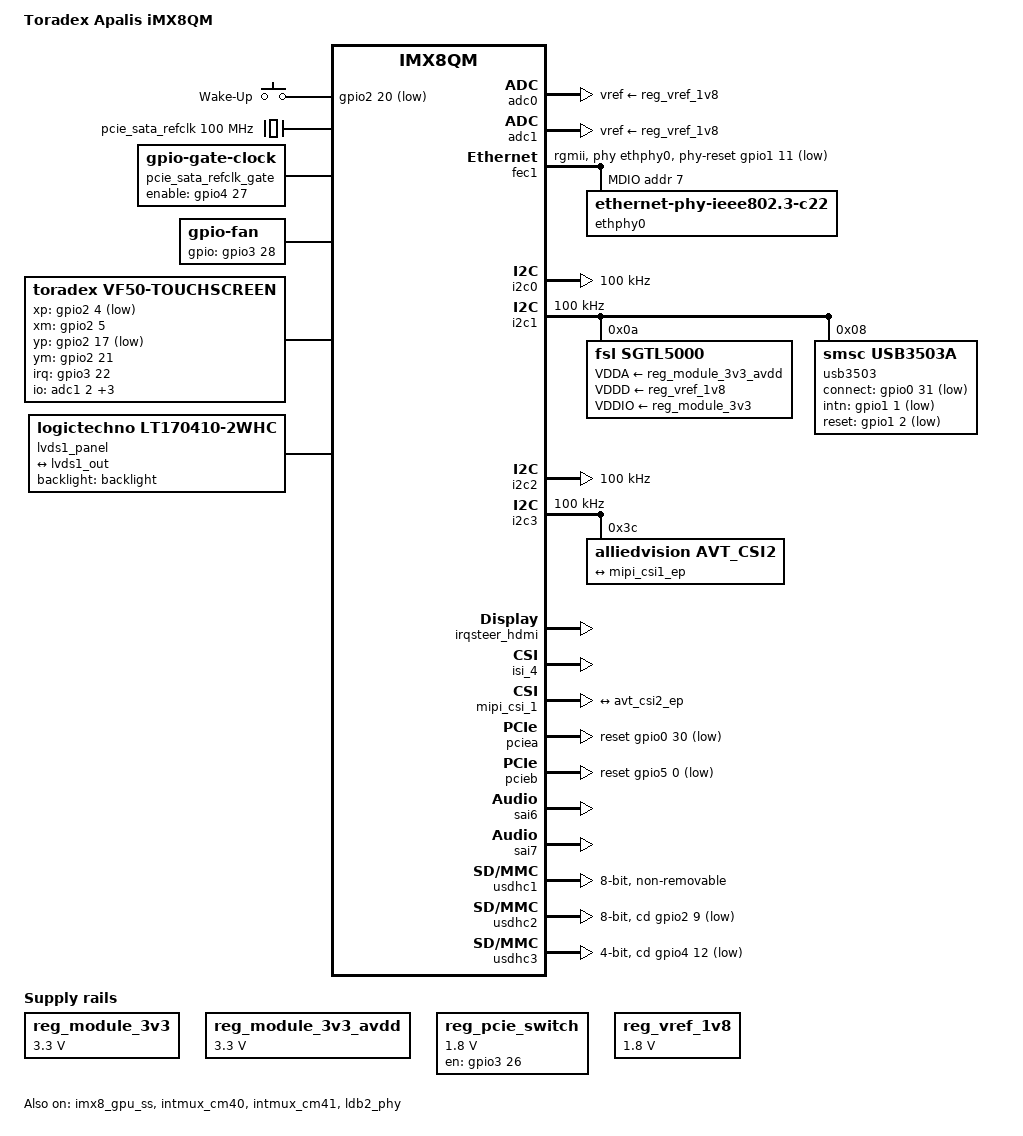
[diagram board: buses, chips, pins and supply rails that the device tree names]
// SPDX-License-Identifier: GPL-2.0+ OR X11
/*
 * Copyright 2017-2019 Toradex
 */

#include <dt-bindings/pwm/pwm.h>
#include "fsl-imx8qm.dtsi"

/ {
	model = "Toradex Apalis iMX8QM";
	compatible = "toradex,apalis-imx8qm", "fsl,imx8qm";

	chosen {
		stdout-path = &lpuart1;
	};

	/* Apalis BKL1 */
	backlight: backlight {
		compatible = "pwm-backlight";
		pinctrl-names = "default";
		pinctrl-0 = <&pinctrl_gpio_bkl_on>;
		enable-gpios = <&gpio1 4 GPIO_ACTIVE_HIGH>; /* Apalis BKL1_ON */
		pwms = <&lvds1_pwm 0 5000000 0>;
		status = "disabled";
	};

	/* Apalis WAKE1_MICO */
	gpio-keys {
		compatible = "gpio-keys";
		pinctrl-names = "default";
		pinctrl-0 = <&pinctrl_gpio_keys>;

		wakeup {
			label = "Wake-Up";
			gpios = <&gpio2 20 GPIO_ACTIVE_LOW>;
			linux,code = <KEY_WAKEUP>;
			debounce-interval = <10>;
			gpio-key,wakeup;
		};
	};

	pcie_sata_refclk: clock-generator {
		compatible = "fixed-clock";
		#clock-cells = <0>;
		clock-frequency = <100000000>;
	};

	pcie_sata_refclk_gate: ref-clock {
		compatible = "gpio-gate-clock";
		pinctrl-names = "default";
		pinctrl-0 = <&pinctrl_pcie_sata_refclk>;
		#clock-cells = <0>;
		clocks = <&pcie_sata_refclk>;
		enable-gpios = <&gpio4 27 GPIO_ACTIVE_HIGH>;
	};

	reg_module_3v3: regulator-module-3v3 {
		compatible = "regulator-fixed";
		regulator-name = "+V3.3";
		regulator-min-microvolt = <3300000>;
		regulator-max-microvolt = <3300000>;
	};

	reg_module_3v3_avdd: regulator-module-3v3-avdd {
		compatible = "regulator-fixed";
		regulator-name = "+V3.3_AUDIO";
		regulator-min-microvolt = <3300000>;
		regulator-max-microvolt = <3300000>;
	};

	reg_pcie_switch: regulator-pcie-switch {
		compatible = "regulator-fixed";
		pinctrl-names = "default";
		pinctrl-0 = <&pinctrl_gpio7>;
		enable-active-high;
		gpio = <&gpio3 26 GPIO_ACTIVE_HIGH>;
		regulator-name = "pcie_switch";
		regulator-min-microvolt = <1800000>;
		regulator-max-microvolt = <1800000>;
		startup-delay-us = <100000>;
	};

	reg_vref_1v8: regulator-vref-1v8 {
		compatible = "regulator-fixed";
		regulator-name = "+V1.8";
		regulator-min-microvolt = <1800000>;
		regulator-max-microvolt = <1800000>;
	};

	gpio-fan {
		compatible = "gpio-fan";
		pinctrl-names = "default";
		pinctrl-0 = <&pinctrl_gpio8>;
		gpios = <&gpio3 28 GPIO_ACTIVE_HIGH>;
		gpio-fan,speed-map = <	 0 0
				      3000 1>;
	};

	sound {
		compatible = "simple-audio-card";
		simple-audio-card,bitclock-master = <&dailink_master>;
		simple-audio-card,format = "i2s";
		simple-audio-card,frame-master = <&dailink_master>;
		/* simple-audio-card,mclk-fs = <1>; */
		simple-audio-card,name = "apalis-imx8qm-sgtl5000";

		simple-audio-card,cpu {
			sound-dai = <&sai1>;
		};

		dailink_master: simple-audio-card,codec {
			clocks = <&clk IMX8QM_AUD_MCLKOUT0>;
			sound-dai = <&sgtl5000>;
		};
	};

	sound-hdmi-tx {
		compatible = "fsl,imx-audio-cdnhdmi";
		audio-cpu = <&sai_hdmi_tx>;
		constraint-rate = <48000>;
		hdmi-out;
		model = "imx-audio-hdmi-tx";
		protocol = <1>;
	};

	sound-amix-sai {
		compatible = "fsl,imx-audio-amix";
		amix-controller = <&amix>;
		dais = <&sai6>, <&sai7>;
		model = "amix-audio-sai";
		status = "okay";
	};

	sound-hdmi-arc {
		compatible = "fsl,imx-audio-spdif";
		model = "imx-hdmi-arc";
		spdif-controller = <&spdif1>;
		spdif-in;
		spdif-out;
	};

	sound-spdif {
		compatible = "fsl,imx-audio-spdif";
		model = "imx-spdif";
		spdif-controller = <&spdif0>;
		spdif-in;
		spdif-out;
	};

	touchscreen: vf50-touchscreen {
		compatible = "toradex,vf50-touchscreen";
		io-channels = <&adc1 2>,<&adc1 1>,
			      <&adc1 0>,<&adc1 3>;
		xp-gpios = <&gpio2 4 GPIO_ACTIVE_LOW>;
		xm-gpios = <&gpio2 5 GPIO_ACTIVE_HIGH>;
		yp-gpios = <&gpio2 17 GPIO_ACTIVE_LOW>;
		ym-gpios = <&gpio2 21 GPIO_ACTIVE_HIGH>;
		interrupt-parent = <&gpio3>;
		interrupts = <22 IRQ_TYPE_LEVEL_LOW>;
		pinctrl-names = "idle","default";
		pinctrl-0 = <&pinctrl_touchctrl_idle>, <&pinctrl_touchctrl_gpios>;
		pinctrl-1 = <&pinctrl_adc1>, <&pinctrl_touchctrl_gpios>;
		vf50-ts-min-pressure = <200>;
		status = "okay";
	};

	lvds1_panel {
		compatible = "logictechno,lt170410-2whc";
		backlight = <&backlight>;

		port {
			panel_lvds1_in: endpoint {
				remote-endpoint = <&lvds1_out>;
			};
		};
	};
};

&adc0 {
	pinctrl-names = "default";
	pinctrl-0 = <&pinctrl_adc0>;
	vref-supply = <&reg_vref_1v8>;
};

&adc1 {
	/* pinctrl handled by touchscreen above */
	vref-supply = <&reg_vref_1v8>;
};

&asrc0 {
	fsl,asrc-rate = <48000>;
};

&dsp {
	status = "disabled";
};

/* Apalis GLAN */
&fec1 {
	pinctrl-names = "default";
	pinctrl-0 = <&pinctrl_fec1>;
	fsl,magic-packet;
	fsl,rgmii_rxc_dly;
	fsl,rgmii_txc_dly;
	phy-handle = <&ethphy0>;
	phy-mode = "rgmii";
	phy-reset-duration = <10>;
	phy-reset-gpios = <&gpio1 11 1>;

	mdio {
		#address-cells = <1>;
		#size-cells = <0>;

		ethphy0: ethernet-phy@7 {
			compatible = "ethernet-phy-ieee802.3-c22";
			reg = <7>;
		};
	};
};

/* Apalis CAN1 */
&flexcan1 {
	/* define the following property to disable CAN-FD mode */
	/* disable-fd-mode; */
	pinctrl-names = "default";
	pinctrl-0 = <&pinctrl_flexcan1>;
	/* xceiver-supply = <&reg_can_stby>; */
};

/* Apalis CAN2 */
&flexcan2 {
	/* define the following property to disable CAN-FD mode */
	/* disable-fd-mode; */
	pinctrl-names = "default";
	pinctrl-0 = <&pinctrl_flexcan2>;
	/* xceiver-supply = <&reg_can_stby>; */
};

/* Apalis HDMI1 */
&hdmi {
	compatible = "fsl,imx8qm-hdmi";
	pinctrl-names = "default";
	pinctrl-0 = <&pinctrl_hdmi_ctrl>;
	assigned-clocks = <&clk IMX8QM_HDMI_PXL_SEL>,
			  <&clk IMX8QM_HDMI_PXL_LINK_SEL>,
			  <&clk IMX8QM_HDMI_PXL_MUX_SEL>;
	assigned-clock-parents = <&clk IMX8QM_HDMI_AV_PLL_CLK>,
				 <&clk IMX8QM_HDMI_AV_PLL_CLK>,
				 <&clk IMX8QM_HDMI_AV_PLL_CLK>;
	ddc-i2c-bus = <&i2c0>;
	fsl,cec;
	hdmi-ctrl-gpios = <&gpio1 30 GPIO_ACTIVE_HIGH>;
};

/* Apalis I2C2 (DDC) */
&i2c0 {
	pinctrl-names = "default";
	pinctrl-0 = <&pinctrl_lpi2c0>;
	#address-cells = <1>;
	#size-cells = <0>;
	clock-frequency = <100000>;
};

/* On-module I2C */
&i2c1 {
	pinctrl-names = "default";
	pinctrl-0 = <&pinctrl_lpi2c1>;
	#address-cells = <1>;
	#size-cells = <0>;
	clock-frequency = <100000>;
	status = "okay";

	/* SGTL5000 */
	sgtl5000: codec@a {
		compatible = "fsl,sgtl5000";
		pinctrl-names = "default";
		pinctrl-0 = <&pinctrl_sgtl5000>;
		#sound-dai-cells = <0>;
		assigned-clocks = <&clk IMX8QM_AUD_PLL0_DIV>,
				  <&clk IMX8QM_AUD_ACM_AUD_PLL_CLK0_DIV>,
				  <&clk IMX8QM_AUD_ACM_AUD_REC_CLK0_DIV>,
				  <&clk IMX8QM_AUD_MCLKOUT0>;
		assigned-clock-rates = <786432000>, <49152000>, <12288000>, <12288000>;
		clocks = <&clk IMX8QM_AUD_MCLKOUT0>;
		power-domains = <&pd_mclk_out0>;
		reg = <0x0a>;
		VDDA-supply = <&reg_module_3v3_avdd>;
		VDDD-supply = <&reg_vref_1v8>;
		VDDIO-supply = <&reg_module_3v3>;
	};

	/* USB3503A */
	usb3503@08 {
		compatible = "smsc,usb3503a";
		pinctrl-names = "default";
		pinctrl-0 = <&pinctrl_usb3503a>;
		connect-gpios = <&gpio0 31 GPIO_ACTIVE_LOW>;
		initial-mode = <1>;
		intn-gpios = <&gpio1 1 GPIO_ACTIVE_LOW>;
		refclk-frequency = <25000000>;
		reg = <0x08>;
		reset-gpios = <&gpio1 2 GPIO_ACTIVE_LOW>;
	};
};

/* Apalis I2C1 */
&i2c2 {
	pinctrl-names = "default";
	pinctrl-0 = <&pinctrl_lpi2c2>;
	#address-cells = <1>;
	#size-cells = <0>;
	clock-frequency = <100000>;
};

/* Apalis I2C3 (CAM) */
&i2c3 {
	pinctrl-names = "default";
	pinctrl-0 = <&pinctrl_lpi2c3>;
	#address-cells = <1>;
	#size-cells = <0>;
	clock-frequency = <100000>;
	status = "okay";

	avt_csi2@3c {
		compatible = "alliedvision,avt_csi2";
		reg = <0x3c>;
		pinctrl-names = "default";
		pinctrl-0 = <&pinctrl_gpio12>;
		status = "okay";

		virtual-channel;

		port {
			avt_csi2_ep: endpoint {
				data-lanes = <1 2 3 4>;
				remote-endpoint = <&mipi_csi1_ep>;
			};
		};
	};
};

&imx8_gpu_ss {
	status = "okay";
};

&intmux_cm40 {
	status = "okay";
};

&intmux_cm41 {
	status = "okay";
};

&iomuxc {
	pinctrl-names = "default";
	pinctrl-0 = <&pinctrl_cam1_gpios>, <&pinctrl_dap1_gpios>,
		    <&pinctrl_esai0_gpios>, <&pinctrl_fec2_gpios>,
		    <&pinctrl_gpio34>, <&pinctrl_gpio_usbh_oc_n>,
		    <&pinctrl_lpuart1ctrl>, <&pinctrl_lvds0_i2c0_gpio>,
		    <&pinctrl_lvds1_i2c0_gpios>, <&pinctrl_mipi_dsi_0_1_en>,
		    <&pinctrl_mipi_dsi1_gpios>, <&pinctrl_mlb_gpios>,
		    <&pinctrl_qspi1a_gpios>, <&pinctrl_sata1_act>,
		    <&pinctrl_sim0_gpios>, <&pinctrl_usdhc1_gpios>;

	apalis-imx8qm {
		/* Apalis AN1_ADC */
		pinctrl_adc0: adc0grp {
			fsl,pins = <
				/* Apalis AN1_ADC0 */
				SC_P_ADC_IN0_DMA_ADC0_IN0		0xc0000060
				/* Apalis AN1_ADC1 */
				SC_P_ADC_IN1_DMA_ADC0_IN1		0xc0000060
				/* Apalis AN1_ADC2 */
				SC_P_ADC_IN2_DMA_ADC0_IN2		0xc0000060
				/* Apalis AN1_TSWIP_ADC3 */
				SC_P_ADC_IN3_DMA_ADC0_IN3		0xc0000060
			>;
		};

		/* Apalis AN1_TS */
		pinctrl_adc1: adc1grp {
			fsl,pins = <
				/* Apalis AN1_TSPX */
				SC_P_ADC_IN4_DMA_ADC1_IN0		0xc0000060
				/* Apalis AN1_TSMX */
				SC_P_ADC_IN5_DMA_ADC1_IN1		0xc0000060
				/* Apalis AN1_TSPY */
				SC_P_ADC_IN6_DMA_ADC1_IN2		0xc0000060
				/* Apalis AN1_TSMY */
				SC_P_ADC_IN7_DMA_ADC1_IN3		0xc0000060
			>;
		};

		/* Apalis BKL_ON */
		pinctrl_gpio_bkl_on: gpio-bkl-on {
			fsl,pins = <
				SC_P_LVDS0_GPIO00_LSIO_GPIO1_IO04	0x00000021
			>;
		};

		/* Apalis BKL1_PWM */
		pinctrl_pwm_bkl: pwmbklgrp {
			fsl,pins = <
				SC_P_LVDS1_GPIO00_LVDS1_PWM0_OUT	0x00000020
			>;
		};

		/* Apalis CAM1 */
		pinctrl_cam1_gpios: cam1gpiosgrp {
			fsl,pins = <
				/* Apalis CAM1_D7 */
				SC_P_MIPI_DSI1_I2C0_SCL_LSIO_GPIO1_IO20	0x00000021
				/* Apalis CAM1_D6 */
				SC_P_MIPI_DSI1_I2C0_SDA_LSIO_GPIO1_IO21	0x00000021
				/* Apalis CAM1_D5 */
				SC_P_ESAI0_TX0_LSIO_GPIO2_IO26		0x00000021
				/* Apalis CAM1_D4 */
				SC_P_ESAI0_TX1_LSIO_GPIO2_IO27		0x00000021
				/* Apalis CAM1_D3 */
				SC_P_ESAI0_TX2_RX3_LSIO_GPIO2_IO28	0x00000021
				/* Apalis CAM1_D2 */
				SC_P_ESAI0_TX3_RX2_LSIO_GPIO2_IO29	0x00000021
				/* Apalis CAM1_D1 */
				SC_P_ESAI0_TX4_RX1_LSIO_GPIO2_IO30	0x00000021
				/* Apalis CAM1_D0 */
				SC_P_ESAI0_TX5_RX0_LSIO_GPIO2_IO31	0x00000021
				/* Apalis CAM1_PCLK */
				SC_P_MCLK_IN0_LSIO_GPIO3_IO00		0x00000021
				/* Apalis CAM1_MCLK */
				SC_P_SPI3_SDO_LSIO_GPIO2_IO18		0x00000021
				/* Apalis CAM1_VSYNC */
				SC_P_ESAI0_SCKR_LSIO_GPIO2_IO24		0x00000021
				/* Apalis CAM1_HSYNC */
				SC_P_ESAI0_SCKT_LSIO_GPIO2_IO25		0x00000021
			>;
		};

		/* Apalis CAN1 */
		pinctrl_flexcan1: flexcan0grp {
			fsl,pins = <
				SC_P_FLEXCAN0_TX_DMA_FLEXCAN0_TX	0x21
				SC_P_FLEXCAN0_RX_DMA_FLEXCAN0_RX	0x21
			>;
		};

		/* Apalis CAN2 */
		pinctrl_flexcan2: flexcan1grp {
			fsl,pins = <
				SC_P_FLEXCAN1_TX_DMA_FLEXCAN1_TX	0x21
				SC_P_FLEXCAN1_RX_DMA_FLEXCAN1_RX	0x21
			>;
		};

		/* Apalis DAP1 */
		pinctrl_dap1_gpios: dap1gpiosgrp {
			fsl,pins = <
				/* Apalis DAP1_MCLK */
				SC_P_SPI3_SDI_LSIO_GPIO2_IO19			0x00000021
				/* Apalis DAP1_D_OUT */
				SC_P_SAI1_RXC_LSIO_GPIO3_IO12			0x00000021
				/* Apalis DAP1_RESET */
				SC_P_ESAI1_SCKT_LSIO_GPIO2_IO07			0x00000021
				/* Apalis DAP1_BIT_CLK */
				SC_P_SPI0_CS1_LSIO_GPIO3_IO06			0x00000021
				/* Apalis DAP1_D_IN */
				SC_P_SAI1_RXFS_LSIO_GPIO3_IO14			0x00000021
				/* Apalis DAP1_SYNC */
				SC_P_SPI2_CS1_LSIO_GPIO3_IO11			0x00000021
				/* On-module Wi-Fi_I2S_EN# */
				SC_P_ESAI1_TX5_RX0_LSIO_GPIO2_IO13		0x00000021
			>;
		};

		/* Apalis GPIO1+2 */
		pinctrl_gpio12: gpio12grp {
			fsl,pins = <
				/* Apalis GPIO1 */
				SC_P_M40_GPIO0_00_LSIO_GPIO0_IO08		0x06000021
				/* Apalis GPIO2 */
				SC_P_M40_GPIO0_01_LSIO_GPIO0_IO09		0x06000021
			>;
		};

		/* Apalis GPIO3+4 */
		pinctrl_gpio34: gpio34grp {
			fsl,pins = <
				/* Apalis GPIO3 */
				SC_P_M41_GPIO0_00_LSIO_GPIO0_IO12		0x06000021
				/* Apalis GPIO4 */
				SC_P_M41_GPIO0_01_LSIO_GPIO0_IO13		0x06000021
			>;
		};

		/* Apalis GPIO5+6 */
		pinctrl_touch: touchgrp {
			fsl,pins = <
				SC_P_FLEXCAN2_RX_LSIO_GPIO4_IO01		0x06000021
				SC_P_FLEXCAN2_TX_LSIO_GPIO4_IO02		0x06000021
			>;
		};

		/* Apalis GPIO7 */
		pinctrl_gpio7: gpio7 {
			fsl,pins = <
				SC_P_MLB_SIG_LSIO_GPIO3_IO26			0x00000021
			>;
		};

		/* Apalis GPIO8 */
		pinctrl_gpio8: gpio8 {
			fsl,pins = <
				SC_P_MLB_DATA_LSIO_GPIO3_IO28			0x00000021
			>;
		};

		/* Apalis I2C1 */
		pinctrl_lpi2c2: lpi2c2grp {
			fsl,pins = <
				SC_P_GPT1_CLK_DMA_I2C2_SCL		0x04000020
				SC_P_GPT1_CAPTURE_DMA_I2C2_SDA		0x04000020
			>;
		};

		/* Apalis I2C2 (DDC) */
		pinctrl_lpi2c0: lpi2c0grp {
			fsl,pins = <
				SC_P_HDMI_TX0_TS_SCL_DMA_I2C0_SCL	0x04000022
				SC_P_HDMI_TX0_TS_SDA_DMA_I2C0_SDA	0x04000022
			>;
		};

		/* Apalis I2C3 (CAM) */
		pinctrl_lpi2c3: lpi2c3grp {
			fsl,pins = <
				SC_P_SIM0_PD_DMA_I2C3_SCL		0x04000020
				SC_P_SIM0_POWER_EN_DMA_I2C3_SDA		0x04000020
			>;
		};

		/* Apalis LCD1_G1+2 */
		pinctrl_esai0_gpios: esai0gpiosgrp {
			fsl,pins = <
				/* Apalis LCD1_G1 */
				SC_P_ESAI0_FSR_LSIO_GPIO2_IO22			0x00000021
				/* Apalis LCD1_G2 */
				SC_P_ESAI0_FST_LSIO_GPIO2_IO23			0x00000021
			>;
		};

		/* Apalis LCD1_G6+7 */
		pinctrl_lvds1_i2c0_gpios: lvds1i2c0gpiosgrp {
			fsl,pins = <
				/* Apalis LCD1_G6 */
				SC_P_LVDS1_I2C0_SCL_LSIO_GPIO1_IO12		0x00000021
				/* Apalis LCD1_G7 */
				SC_P_LVDS1_I2C0_SDA_LSIO_GPIO1_IO13		0x00000021
			>;
		};

		/* Apalis LCD1_ */
		pinctrl_fec2_gpios: fec2gpiosgrp {
			fsl,pins = <
				SC_P_COMP_CTL_GPIO_1V8_3V3_ENET_ENETA_PAD	0x000014a0
				/* Apalis LCD1_R1 */
				SC_P_ENET1_MDC_LSIO_GPIO4_IO18			0x00000021
				/* Apalis LCD1_R0 */
				SC_P_ENET1_MDIO_LSIO_GPIO4_IO17			0x00000021
				/* Apalis LCD1_G0 */
				SC_P_ENET1_REFCLK_125M_25M_LSIO_GPIO4_IO16	0x00000021
				/* Apalis LCD1_R7 */
				SC_P_ENET1_RGMII_RX_CTL_LSIO_GPIO6_IO17		0x00000021
				/* Apalis LCD1_DE */
				SC_P_ENET1_RGMII_RXD0_LSIO_GPIO6_IO18		0x00000021
				/* Apalis LCD1_HSYNC */
				SC_P_ENET1_RGMII_RXD1_LSIO_GPIO6_IO19		0x00000021
				/* Apalis LCD1_VSYNC */
				SC_P_ENET1_RGMII_RXD2_LSIO_GPIO6_IO20		0x00000021
				/* Apalis LCD1_PCLK */
				SC_P_ENET1_RGMII_RXD3_LSIO_GPIO6_IO21		0x00000021
				/* Apalis LCD1_R6 */
				SC_P_ENET1_RGMII_TX_CTL_LSIO_GPIO6_IO11		0x00000021
				/* Apalis LCD1_R5 */
				SC_P_ENET1_RGMII_TXC_LSIO_GPIO6_IO10		0x00000021
				/* Apalis LCD1_R4 */
				SC_P_ENET1_RGMII_TXD0_LSIO_GPIO6_IO12		0x00000021
				/* Apalis LCD1_R3 */
				SC_P_ENET1_RGMII_TXD1_LSIO_GPIO6_IO13		0x00000021
				/* Apalis LCD1_R2 */
				SC_P_ENET1_RGMII_TXD2_LSIO_GPIO6_IO14		0x00000021
			>;
		};

		/* Apalis LCD1_ */
		pinctrl_qspi1a_gpios: qspi1agpiosgrp {
			fsl,pins = <
				/* Apalis LCD1_B0 */
				SC_P_QSPI1A_DATA0_LSIO_GPIO4_IO26		0x00000021
				/* Apalis LCD1_B1 */
				SC_P_QSPI1A_DATA1_LSIO_GPIO4_IO25		0x00000021
				/* Apalis LCD1_B2 */
				SC_P_QSPI1A_DATA2_LSIO_GPIO4_IO24		0x00000021
				/* Apalis LCD1_B3 */
				SC_P_QSPI1A_DATA3_LSIO_GPIO4_IO23		0x00000021
				/* Apalis LCD1_B5 */
				SC_P_QSPI1A_DQS_LSIO_GPIO4_IO22			0x00000021
				/* Apalis LCD1_B7 */
				SC_P_QSPI1A_SCLK_LSIO_GPIO4_IO21		0x00000021
				/* Apalis LCD1_B4 */
				SC_P_QSPI1A_SS0_B_LSIO_GPIO4_IO19		0x00000021
				/* Apalis LCD1_B6 */
				SC_P_QSPI1A_SS1_B_LSIO_GPIO4_IO20		0x00000021
			>;
		};

		/* Apalis LCD1_ */
		pinctrl_sim0_gpios: sim0gpiosgrp {
			fsl,pins = <
				/* Apalis LCD1_G5 */
				SC_P_SIM0_CLK_LSIO_GPIO0_IO00			0x00000021
				/* Apalis LCD1_G3 */
				SC_P_SIM0_GPIO0_00_LSIO_GPIO0_IO05		0x00000021
				/* Apalis TS_5 */
				SC_P_SIM0_IO_LSIO_GPIO0_IO02			0x00000021
				/* Apalis LCD1_G4 */
				SC_P_SIM0_RST_LSIO_GPIO0_IO01			0x00000021
			>;
		};

		/* Apalis MMC1_CD# */
		pinctrl_mmc1_cd: mmc1cdgrp {
			fsl,pins = <
				SC_P_ESAI1_TX1_LSIO_GPIO2_IO09		0x00000021
			>;
		};

		/* Apalis MMC1 */
		pinctrl_usdhc2: usdhc2grp {
			fsl,pins = <
				SC_P_USDHC1_CLK_CONN_USDHC1_CLK		0x06000041
				SC_P_USDHC1_CMD_CONN_USDHC1_CMD		0x00000021
				SC_P_USDHC1_DATA0_CONN_USDHC1_DATA0	0x00000021
				SC_P_USDHC1_DATA1_CONN_USDHC1_DATA1	0x00000021
				SC_P_USDHC1_DATA2_CONN_USDHC1_DATA2	0x00000021
				SC_P_USDHC1_DATA3_CONN_USDHC1_DATA3	0x00000021
				SC_P_USDHC1_DATA4_CONN_USDHC1_DATA4	0x00000021
				SC_P_USDHC1_DATA5_CONN_USDHC1_DATA5	0x00000021
				SC_P_USDHC1_DATA6_CONN_USDHC1_DATA6	0x00000021
				SC_P_USDHC1_DATA7_CONN_USDHC1_DATA7	0x00000021
				/* On-module PMIC use */
				SC_P_USDHC1_VSELECT_CONN_USDHC1_VSELECT	0x00000021
			>;
		};

		pinctrl_usdhc2_100mhz: usdhc2grp100mhz {
			fsl,pins = <
				SC_P_USDHC1_CLK_CONN_USDHC1_CLK		0x06000040
				SC_P_USDHC1_CMD_CONN_USDHC1_CMD		0x00000020
				SC_P_USDHC1_DATA0_CONN_USDHC1_DATA0	0x00000020
				SC_P_USDHC1_DATA1_CONN_USDHC1_DATA1	0x00000020
				SC_P_USDHC1_DATA2_CONN_USDHC1_DATA2	0x00000020
				SC_P_USDHC1_DATA3_CONN_USDHC1_DATA3	0x00000020
				SC_P_USDHC1_DATA4_CONN_USDHC1_DATA4	0x00000020
				SC_P_USDHC1_DATA5_CONN_USDHC1_DATA5	0x00000020
				SC_P_USDHC1_DATA6_CONN_USDHC1_DATA6	0x00000020
				SC_P_USDHC1_DATA7_CONN_USDHC1_DATA7	0x00000020
				/* On-module PMIC use */
				SC_P_USDHC1_VSELECT_CONN_USDHC1_VSELECT	0x00000020
			>;
		};

		pinctrl_usdhc2_200mhz: usdhc2grp200mhz {
			fsl,pins = <
				SC_P_USDHC1_CLK_CONN_USDHC1_CLK		0x06000040
				SC_P_USDHC1_CMD_CONN_USDHC1_CMD		0x00000020
				SC_P_USDHC1_DATA0_CONN_USDHC1_DATA0	0x00000020
				SC_P_USDHC1_DATA1_CONN_USDHC1_DATA1	0x00000020
				SC_P_USDHC1_DATA2_CONN_USDHC1_DATA2	0x00000020
				SC_P_USDHC1_DATA3_CONN_USDHC1_DATA3	0x00000020
				SC_P_USDHC1_DATA4_CONN_USDHC1_DATA4	0x00000020
				SC_P_USDHC1_DATA5_CONN_USDHC1_DATA5	0x00000020
				SC_P_USDHC1_DATA6_CONN_USDHC1_DATA6	0x00000020
				SC_P_USDHC1_DATA7_CONN_USDHC1_DATA7	0x00000020
				/* On-module PMIC use */
				SC_P_USDHC1_VSELECT_CONN_USDHC1_VSELECT	0x00000020
			>;
		};

		/* Apalis PWM1 */
		pinctrl_pwm2: pwm2grp {
			fsl,pins = <
				SC_P_GPT1_COMPARE_LSIO_PWM2_OUT		0x00000020
			>;
		};

		/* Apalis PWM2 */
		pinctrl_pwm3: pwm3grp {
			fsl,pins = <
				SC_P_GPT0_COMPARE_LSIO_PWM3_OUT		0x00000020
			>;
		};

		/* Apalis PWM3 */
		pinctrl_pwm0: pwm0grp {
			fsl,pins = <
				SC_P_UART0_RTS_B_LSIO_PWM0_OUT		0x00000020
			>;
		};

		/* Apalis PWM4 */
		pinctrl_pwm1: pwm1grp {
			fsl,pins = <
				SC_P_UART0_CTS_B_LSIO_PWM1_OUT		0x00000020
			>;
		};

		/* Apalis SATA1_ACT# */
		pinctrl_sata1_act: sata1actgrp {
			fsl,pins = <
				SC_P_ESAI1_TX0_LSIO_GPIO2_IO08		0x00000021
			>;
		};

		/* Apalis SD1_CD# */
		pinctrl_sd1_cd: sd1cdgrp {
			fsl,pins = <
				SC_P_USDHC2_CD_B_LSIO_GPIO4_IO12	0x00000021
			>;
		};

		/* Apalis SD1 */
		pinctrl_usdhc3: usdhc3grp {
			fsl,pins = <
				SC_P_USDHC2_CLK_CONN_USDHC2_CLK		0x06000041
				SC_P_USDHC2_CMD_CONN_USDHC2_CMD		0x00000021
				SC_P_USDHC2_DATA0_CONN_USDHC2_DATA0	0x00000021
				SC_P_USDHC2_DATA1_CONN_USDHC2_DATA1	0x00000021
				SC_P_USDHC2_DATA2_CONN_USDHC2_DATA2	0x00000021
				SC_P_USDHC2_DATA3_CONN_USDHC2_DATA3	0x00000021
				/* On-module PMIC use */
				SC_P_USDHC2_VSELECT_CONN_USDHC2_VSELECT	0x00000021
			>;
		};

		pinctrl_touchctrl_idle: touchctrl_idle {
			fsl,pins = <
				SC_P_ADC_IN4_LSIO_GPIO3_IO22		0x00000021
				SC_P_ADC_IN5_LSIO_GPIO3_IO23		0x00000021
				>;
		};

		pinctrl_touchctrl_gpios: touchctrl_gpios {
			fsl,pins = <
				SC_P_ESAI1_FSR_LSIO_GPIO2_IO04		0x00000021
				SC_P_ESAI1_FST_LSIO_GPIO2_IO05		0x00000041
				SC_P_SPI3_SCK_LSIO_GPIO2_IO17		0x00000021
				SC_P_SPI3_CS1_LSIO_GPIO2_IO21		0x00000041
				>;
		};

		pinctrl_usdhc3_100mhz: usdhc3grp100mhz {
			fsl,pins = <
				SC_P_USDHC2_CLK_CONN_USDHC2_CLK		0x06000041
				SC_P_USDHC2_CMD_CONN_USDHC2_CMD		0x00000021
				SC_P_USDHC2_DATA0_CONN_USDHC2_DATA0	0x00000021
				SC_P_USDHC2_DATA1_CONN_USDHC2_DATA1	0x00000021
				SC_P_USDHC2_DATA2_CONN_USDHC2_DATA2	0x00000021
				SC_P_USDHC2_DATA3_CONN_USDHC2_DATA3	0x00000021
				/* On-module PMIC use */
				SC_P_USDHC2_VSELECT_CONN_USDHC2_VSELECT	0x00000021
			>;
		};

		pinctrl_usdhc3_200mhz: usdhc3grp200mhz {
			fsl,pins = <
				SC_P_USDHC2_CLK_CONN_USDHC2_CLK		0x06000041
				SC_P_USDHC2_CMD_CONN_USDHC2_CMD		0x00000021
				SC_P_USDHC2_DATA0_CONN_USDHC2_DATA0	0x00000021
				SC_P_USDHC2_DATA1_CONN_USDHC2_DATA1	0x00000021
				SC_P_USDHC2_DATA2_CONN_USDHC2_DATA2	0x00000021
				SC_P_USDHC2_DATA3_CONN_USDHC2_DATA3	0x00000021
				/* On-module PMIC use */
				SC_P_USDHC2_VSELECT_CONN_USDHC2_VSELECT	0x00000021
			>;
		};

		/* Apalis SPDIF */
		pinctrl_spdif0: spdif0grp {
			fsl,pins = <
				SC_P_SPDIF0_TX_AUD_SPDIF0_TX	0xc6000040
				SC_P_SPDIF0_RX_AUD_SPDIF0_RX	0xc6000040
			>;
		};

		/* Apalis TS_1 */
		pinctrl_mlb_gpios: mlbgpiosgrp {
			fsl,pins = <
				SC_P_MLB_CLK_LSIO_GPIO3_IO27			0x00000021
			>;
		};

		/* Apalis TS_2 */
		pinctrl_lvds0_i2c0_gpio: lvds0i2c0gpio {
			fsl,pins = <
				SC_P_LVDS0_I2C0_SCL_LSIO_GPIO1_IO06		0x00000021
			>;
		};

		/* Apalis TS_3 */
		pinctrl_mipi_dsi_0_1_en: mipi_dsi_0_1_en {
			fsl,pins = <
				SC_P_LVDS0_I2C0_SDA_LSIO_GPIO1_IO07		0x00000021
			>;
		};

		/* Apalis TS_4 */
		pinctrl_mipi_dsi1_gpios: mipidsi1gpiosgrp {
			fsl,pins = <
				SC_P_MIPI_DSI1_GPIO0_00_LSIO_GPIO1_IO22		0x00000021
			>;
		};

		/* Apalis TS_6 */
		pinctrl_usdhc1_gpios: usdhc1gpiosgrp {
			fsl,pins = <
				SC_P_USDHC1_STROBE_LSIO_GPIO5_IO23		0x00000021
			>;
		};

		/* Apalis UART1 */
		pinctrl_lpuart1: lpuart1grp {
			fsl,pins = <
				SC_P_UART1_RX_DMA_UART1_RX		0x06000020
				SC_P_UART1_TX_DMA_UART1_TX		0x06000020
				SC_P_UART1_CTS_B_DMA_UART1_CTS_B	0x06000020
				SC_P_UART1_RTS_B_DMA_UART1_RTS_B	0x06000020
			>;
		};

		/* Apalis UART1_ */
		pinctrl_lpuart1ctrl: lpuart1ctrlgrp {
			fsl,pins = <
				/* Apalis UART1_DTR */
				SC_P_M40_I2C0_SCL_LSIO_GPIO0_IO06	0x00000021
				/* Apalis UART1_DSR */
				SC_P_M40_I2C0_SDA_LSIO_GPIO0_IO07	0x00000021
				/* Apalis UART1_DCD */
				SC_P_M41_I2C0_SCL_LSIO_GPIO0_IO10	0x00000021
				/* Apalis UART1_RI */
				SC_P_M41_I2C0_SDA_LSIO_GPIO0_IO11	0x00000021
			>;
		};

		/* Apalis UART2 */
		pinctrl_lpuart3: lpuart3grp {
			fsl,pins = <
				SC_P_LVDS1_I2C1_SCL_DMA_UART3_TX	0x06000020
				SC_P_LVDS1_I2C1_SDA_DMA_UART3_RX	0x06000020
				SC_P_ENET1_RGMII_TXD3_DMA_UART3_RTS_B	0x06000020
				SC_P_ENET1_RGMII_RXC_DMA_UART3_CTS_B	0x06000020
			>;
		};

		/* Apalis UART3 */
		pinctrl_lpuart0: lpuart0grp {
			fsl,pins = <
				SC_P_UART0_RX_DMA_UART0_RX		0x06000020
				SC_P_UART0_TX_DMA_UART0_TX		0x06000020
			>;
		};

		/* Apalis UART4 */
		pinctrl_lpuart2: lpuart2grp {
			fsl,pins = <
				SC_P_LVDS0_I2C1_SCL_DMA_UART2_TX	0x06000020
				SC_P_LVDS0_I2C1_SDA_DMA_UART2_RX	0x06000020
			>;
		};

		/* Apalis USBH_EN */
		pinctrl_usbh_en: usbhen {
			fsl,pins = <
				SC_P_USB_SS3_TC1_LSIO_GPIO4_IO04	0x00000021
			>;
		};

		/* Apalis USBH_OC# */
		pinctrl_gpio_usbh_oc_n: gpiousbhocn {
			fsl,pins = <
				SC_P_USB_SS3_TC3_LSIO_GPIO4_IO06	0x04000021
			>;
		};

		/* Apalis USBO1 */
		pinctrl_usbotg1: usbotg1 {
			fsl,pins = <
				/* Apalis USBO1_EN */
				SC_P_USB_SS3_TC0_CONN_USB_OTG1_PWR	0x00000021
				/* Apalis USBO1_OC# */
				SC_P_USB_SS3_TC2_CONN_USB_OTG1_OC	0x04000021
			>;
		};

		/* Apalis WAKE1_MICO */
		pinctrl_gpio_keys: gpio-keys {
			fsl,pins = <
				SC_P_SPI3_CS0_LSIO_GPIO2_IO20		0x06700021
			>;
		};

		/* On-module eMMC */
		pinctrl_usdhc1: usdhc1grp {
			fsl,pins = <
				SC_P_EMMC0_CLK_CONN_EMMC0_CLK		0x06000041
				SC_P_EMMC0_CMD_CONN_EMMC0_CMD		0x00000021
				SC_P_EMMC0_DATA0_CONN_EMMC0_DATA0	0x00000021
				SC_P_EMMC0_DATA1_CONN_EMMC0_DATA1	0x00000021
				SC_P_EMMC0_DATA2_CONN_EMMC0_DATA2	0x00000021
				SC_P_EMMC0_DATA3_CONN_EMMC0_DATA3	0x00000021
				SC_P_EMMC0_DATA4_CONN_EMMC0_DATA4	0x00000021
				SC_P_EMMC0_DATA5_CONN_EMMC0_DATA5	0x00000021
				SC_P_EMMC0_DATA6_CONN_EMMC0_DATA6	0x00000021
				SC_P_EMMC0_DATA7_CONN_EMMC0_DATA7	0x00000021
				SC_P_EMMC0_STROBE_CONN_EMMC0_STROBE	0x06000041
				SC_P_EMMC0_RESET_B_CONN_EMMC0_RESET_B	0x00000021
			>;
		};

		pinctrl_usdhc1_100mhz: usdhc1grp100mhz {
			fsl,pins = <
				SC_P_EMMC0_CLK_CONN_EMMC0_CLK		0x06000040
				SC_P_EMMC0_CMD_CONN_EMMC0_CMD		0x00000020
				SC_P_EMMC0_DATA0_CONN_EMMC0_DATA0	0x00000020
				SC_P_EMMC0_DATA1_CONN_EMMC0_DATA1	0x00000020
				SC_P_EMMC0_DATA2_CONN_EMMC0_DATA2	0x00000020
				SC_P_EMMC0_DATA3_CONN_EMMC0_DATA3	0x00000020
				SC_P_EMMC0_DATA4_CONN_EMMC0_DATA4	0x00000020
				SC_P_EMMC0_DATA5_CONN_EMMC0_DATA5	0x00000020
				SC_P_EMMC0_DATA6_CONN_EMMC0_DATA6	0x00000020
				SC_P_EMMC0_DATA7_CONN_EMMC0_DATA7	0x00000020
				SC_P_EMMC0_STROBE_CONN_EMMC0_STROBE	0x06000040
				SC_P_EMMC0_RESET_B_CONN_EMMC0_RESET_B	0x00000020
			>;
		};

		pinctrl_usdhc1_200mhz: usdhc1grp200mhz {
			fsl,pins = <
				SC_P_EMMC0_CLK_CONN_EMMC0_CLK		0x06000040
				SC_P_EMMC0_CMD_CONN_EMMC0_CMD		0x00000020
				SC_P_EMMC0_DATA0_CONN_EMMC0_DATA0	0x00000020
				SC_P_EMMC0_DATA1_CONN_EMMC0_DATA1	0x00000020
				SC_P_EMMC0_DATA2_CONN_EMMC0_DATA2	0x00000020
				SC_P_EMMC0_DATA3_CONN_EMMC0_DATA3	0x00000020
				SC_P_EMMC0_DATA4_CONN_EMMC0_DATA4	0x00000020
				SC_P_EMMC0_DATA5_CONN_EMMC0_DATA5	0x00000020
				SC_P_EMMC0_DATA6_CONN_EMMC0_DATA6	0x00000020
				SC_P_EMMC0_DATA7_CONN_EMMC0_DATA7	0x00000020
				SC_P_EMMC0_STROBE_CONN_EMMC0_STROBE	0x06000040
				SC_P_EMMC0_RESET_B_CONN_EMMC0_RESET_B	0x00000020
			>;
		};

		/* On-module Gigabit Ethernet PHY Micrel KSZ9031 for Apalis GLAN */
		pinctrl_fec1: fec1grp {
			fsl,pins = <
				SC_P_COMP_CTL_GPIO_1V8_3V3_ENET_ENETB_PAD	0x000014a0 /* Use pads in 3.3V mode */
				SC_P_ENET0_MDC_CONN_ENET0_MDC			0x06000020
				SC_P_ENET0_MDIO_CONN_ENET0_MDIO			0x06000020
				SC_P_ENET0_RGMII_TX_CTL_CONN_ENET0_RGMII_TX_CTL	0x06000020
				SC_P_ENET0_RGMII_TXC_CONN_ENET0_RGMII_TXC	0x06000020
				SC_P_ENET0_RGMII_TXD0_CONN_ENET0_RGMII_TXD0	0x06000020
				SC_P_ENET0_RGMII_TXD1_CONN_ENET0_RGMII_TXD1	0x06000020
				SC_P_ENET0_RGMII_TXD2_CONN_ENET0_RGMII_TXD2	0x06000020
				SC_P_ENET0_RGMII_TXD3_CONN_ENET0_RGMII_TXD3	0x06000020
				SC_P_ENET0_RGMII_RXC_CONN_ENET0_RGMII_RXC	0x06000020
				SC_P_ENET0_RGMII_RX_CTL_CONN_ENET0_RGMII_RX_CTL	0x06000020
				SC_P_ENET0_RGMII_RXD0_CONN_ENET0_RGMII_RXD0	0x06000020
				SC_P_ENET0_RGMII_RXD1_CONN_ENET0_RGMII_RXD1	0x06000020
				SC_P_ENET0_RGMII_RXD2_CONN_ENET0_RGMII_RXD2	0x06000020
				SC_P_ENET0_RGMII_RXD3_CONN_ENET0_RGMII_RXD3	0x06000020
				SC_P_ENET0_REFCLK_125M_25M_CONN_ENET0_REFCLK_125M_25M	0x06000020
				/* On-module ETH_RESET# */
				SC_P_LVDS1_GPIO01_LSIO_GPIO1_IO11		0x06000020
			>;
		};

		/* On-module HDMI_CTRL */
		pinctrl_hdmi_ctrl: hdmictrlgrp {
			fsl,pins = <
				SC_P_MIPI_CSI1_GPIO0_00_LSIO_GPIO1_IO30 0x00000061
			>;
		};

		/* On-module I2C */
		pinctrl_lpi2c1: lpi2c1grp {
			fsl,pins = <
				SC_P_GPT0_CLK_DMA_I2C1_SCL		0x04000020
				SC_P_GPT0_CAPTURE_DMA_I2C1_SDA		0x04000020
			>;
		};

		/* On-module I2S SGTL5000 for Apalis Analogue Audio */
		pinctrl_sai1: sai1grp {
			fsl,pins = <
				SC_P_SAI1_TXD_AUD_SAI1_TXD		0xc600006c
				SC_P_SAI1_RXD_AUD_SAI1_RXD		0xc600004c
				SC_P_SAI1_TXC_AUD_SAI1_TXC		0xc600004c
				SC_P_SAI1_TXFS_AUD_SAI1_TXFS		0xc600004c
			>;
		};

		/* On-module I2S SGTL5000 SYS_MCLK */
		pinctrl_sgtl5000: sgtl5000grp {
			fsl,pins = <
				SC_P_MCLK_OUT0_AUD_ACM_MCLK_OUT0	0xc600004c
			>;
		};

		/* On-module PCIe_CTRL0_CLKREQ */
		pinctrl_pcie_sata_refclk: pciesatarefclkgrp {
			fsl,pins = <
				SC_P_PCIE_CTRL0_CLKREQ_B_LSIO_GPIO4_IO27	0x00000021
			>;
		};

		/* On-module PCIe_Wi-Fi */
		pinctrl_pcieb: pciebgrp {
			fsl,pins = <
				SC_P_PCIE_CTRL1_CLKREQ_B_LSIO_GPIO4_IO30	0x00000021
				SC_P_PCIE_CTRL1_WAKE_B_LSIO_GPIO4_IO31		0x00000021
				SC_P_PCIE_CTRL1_PERST_B_LSIO_GPIO5_IO00		0x00000021
			>;
		};

		/* On-module RESET_MOCI#_DRV */
		pinctrl_reset_moci: resetmocigrp {
			fsl,pins = <
				SC_P_SCU_GPIO0_02_LSIO_GPIO0_IO30		0x00000021
			>;
		};

		/* On-module USB HSIC HUB */
		pinctrl_usb3503a: usb3503agrp {
			fsl,pins = <
				/* On-module HSIC_HUB_CONNECT */
				SC_P_SCU_GPIO0_03_LSIO_GPIO0_IO31		0x00000021
				/* On-module HSIC_INT_N */
				SC_P_SCU_GPIO0_05_LSIO_GPIO1_IO01		0x00000021
				/* On-module HSIC_RESET_N */
				SC_P_SCU_GPIO0_06_LSIO_GPIO1_IO02		0x00000021
			>;
		};

		/* On-module USB HSIC HUB (idle) */
		pinctrl_usb_hsic_idle: usbh1_1 {
			fsl,pins = <
				SC_P_USB_HSIC0_DATA_CONN_USB_HSIC0_DATA		0xc60000c5
				SC_P_USB_HSIC0_STROBE_CONN_USB_HSIC0_STROBE	0xc60000c5
			>;
		};

		/* On-module USB HSIC HUB (active) */
		pinctrl_usb_hsic_active: usbh1_2 {
			fsl,pins = <
				SC_P_USB_HSIC0_STROBE_CONN_USB_HSIC0_STROBE	0xc60000d5
			>;
		};

		/* On-module Wi-Fi */
		pinctrl_wifi: wifigrp {
			fsl,pins = <
				/* On-module Wi-Fi_POWER_DOWN */
				SC_P_MIPI_CSI0_GPIO0_01_LSIO_GPIO1_IO28		0x06000021
				/* On-module Wi-Fi_SUSCLK_32k */
				SC_P_SCU_GPIO0_07_SCU_DSC_RTC_CLOCK_OUTPUT_32K	0x06000021
				/* On-module Wi-Fi_PCIE_W_DISABLE */
				SC_P_MIPI_CSI0_MCLK_OUT_LSIO_GPIO1_IO24		0x06000021
			>;
		};
	};
};

&irqsteer_hdmi {
	status = "okay";
};

&isi_4 {
	status = "okay";
};

&ldb2_phy {
	status = "okay";
};

&ldb2 {
	status = "disabled";

	lvds-channel@0 {
		fsl,data-mapping = "spwg";
		fsl,data-width = <24>;
		status = "disabled";

		port@1 {
			reg = <1>;

			lvds1_out: endpoint {
				remote-endpoint = <&panel_lvds1_in>;
			};
		};
	};
};

/* Apalis UART3 */
&lpuart0 {
	pinctrl-names = "default";
	pinctrl-0 = <&pinctrl_lpuart0>;
};

/* Apalis UART1 */
&lpuart1 {
	pinctrl-names = "default";
	pinctrl-0 = <&pinctrl_lpuart1>;
};

/* Apalis UART4 */
&lpuart2 {
	pinctrl-names = "default";
	pinctrl-0 = <&pinctrl_lpuart2>;
};

/* Apalis UART2 */
&lpuart3 {
	pinctrl-names = "default";
	pinctrl-0 = <&pinctrl_lpuart3>;
};

/* Apalis BKL1_PWM */
&lvds1_pwm {
	pinctrl-names = "default";
	pinctrl-0 = <&pinctrl_pwm_bkl>;
	#pwm-cells = <3>;
};

&mipi_csi_1 {
	#address-cells = <1>;
	#size-cells = <0>;
	/delete-property/virtual-channel;

	/* Camera 0 MIPI CSI-2 (CSIS1) */
	port@1 {
		reg = <1>;

		mipi_csi1_ep: endpoint {
			data-lanes = <1 2 3 4>;
			remote-endpoint = <&avt_csi2_ep>;
		};
	};
};

/* Apalis PCIE1 */
&pciea{
	pinctrl-names = "default";
	pinctrl-0 = <&pinctrl_reset_moci>;
	clocks = <&clk IMX8QM_HSIO_PCIE_A_MSTR_AXI_CLK>,
		 <&clk IMX8QM_HSIO_PCIE_A_SLV_AXI_CLK>,
		 <&clk IMX8QM_HSIO_PHY_X2_PCLK_0>,
		 <&clk IMX8QM_HSIO_PCIE_X2_PER_CLK>,
		 <&clk IMX8QM_HSIO_PCIE_A_DBI_AXI_CLK>,
		 <&pcie_sata_refclk_gate>;
	clock-names = "pcie", "pcie_bus", "pcie_phy", "pcie_per", "pcie_inbound_axi", "pcie_ext";
	ext_osc = <1>;
	fsl,max-link-speed = <1>;
	reset-gpio = <&gpio0 30 GPIO_ACTIVE_LOW>;
	vpcie-supply = <&reg_pcie_switch>;
};

/* On-module Wi-Fi */
&pcieb{
	pinctrl-names = "default";
	pinctrl-0 = <&pinctrl_pcieb &pinctrl_wifi>;
	clocks = <&clk IMX8QM_HSIO_PCIE_B_MSTR_AXI_CLK>,
		 <&clk IMX8QM_HSIO_PCIE_B_SLV_AXI_CLK>,
		 <&clk IMX8QM_HSIO_PHY_X2_PCLK_1>,
		 <&clk IMX8QM_HSIO_PCIE_X1_PER_CLK>,
		 <&clk IMX8QM_HSIO_PCIE_B_DBI_AXI_CLK>,
		 <&pcie_sata_refclk_gate>;
	/*clkreq-gpio = <&gpio4 30 GPIO_ACTIVE_LOW>;*/
	clock-names = "pcie", "pcie_bus", "pcie_phy", "pcie_per", "pcie_inbound_axi", "pcie_ext";
	/*epdev_on-supply = <&epdev_on>;*/
	ext_osc = <1>;
	fsl,max-link-speed = <1>;
	reset-gpio = <&gpio5 0 GPIO_ACTIVE_LOW>;
	status = "okay";
};

&pd_cm40_intmux {
	early_power_on;
};

&pd_cm41_intmux {
	early_power_on;
};

&pd_dma_lpuart1 {
	debug_console;
};

/* Apalis PWM3, MXM3 pin 6 */
&pwm0 {
	pinctrl-names = "default";
	pinctrl-0 = <&pinctrl_pwm0>;
	#pwm-cells = <3>;
};

/* Apalis PWM4, MXM3 pin 8 */
&pwm1 {
	pinctrl-names = "default";
	pinctrl-0 = <&pinctrl_pwm1>;
	#pwm-cells = <3>;
};

/* Apalis PWM1, MXM3 pin 2 */
&pwm2 {
	pinctrl-names = "default";
	pinctrl-0 = <&pinctrl_pwm2>;
	#pwm-cells = <3>;
};

/* Apalis PWM2, MXM3 pin 4 */
&pwm3 {
	pinctrl-names = "default";
	pinctrl-0 = <&pinctrl_pwm3>;
	#pwm-cells = <3>;
};

&rpmsg {
	/*
	 * 64K for one rpmsg instance:
	 */
	reg = <0x0 0x90000000 0x0 0x20000>;
	vdev-nums = <2>;
};

&rpmsg1 {
	/*
	 * 64K for one rpmsg instance:
	 */
	reg = <0x0 0x90100000 0x0 0x20000>;
	vdev-nums = <2>;
};

&sai1 {
	assigned-clocks = <&clk IMX8QM_AUD_PLL0_DIV>,
			  <&clk IMX8QM_AUD_ACM_AUD_PLL_CLK0_DIV>,
			  <&clk IMX8QM_AUD_ACM_AUD_REC_CLK0_DIV>,
			  <&clk IMX8QM_AUD_SAI_1_MCLK>;
	assigned-clock-rates = <786432000>, <49152000>, <12288000>, <49152000>;
	#sound-dai-cells = <0>;
	pinctrl-names = "default";
	pinctrl-0 = <&pinctrl_sai1>;
};

&sai6 {
	assigned-clocks = <&clk IMX8QM_ACM_SAI6_MCLK_SEL>,
			<&clk IMX8QM_AUD_PLL1_DIV>,
			<&clk IMX8QM_AUD_ACM_AUD_PLL_CLK1_DIV>,
			<&clk IMX8QM_AUD_ACM_AUD_REC_CLK1_DIV>,
			<&clk IMX8QM_AUD_SAI_6_MCLK>;
	assigned-clock-parents = <&clk IMX8QM_AUD_ACM_AUD_PLL_CLK1_CLK>;
	assigned-clock-rates = <0>, <786432000>, <98304000>, <12288000>, <98304000>;
	fsl,sai-asynchronous;
	fsl,txm-rxs;
	status = "okay";
};

&sai7 {
	assigned-clocks = <&clk IMX8QM_ACM_SAI7_MCLK_SEL>,
			<&clk IMX8QM_AUD_PLL1_DIV>,
			<&clk IMX8QM_AUD_ACM_AUD_PLL_CLK1_DIV>,
			<&clk IMX8QM_AUD_ACM_AUD_REC_CLK1_DIV>,
			<&clk IMX8QM_AUD_SAI_7_MCLK>;
	assigned-clock-parents = <&clk IMX8QM_AUD_ACM_AUD_PLL_CLK1_CLK>;
	assigned-clock-rates = <0>, <786432000>, <98304000>, <12288000>, <98304000>;
	fsl,sai-asynchronous;
	fsl,txm-rxs;
	status = "okay";
};

&sai_hdmi_rx {
	fsl,sai-asynchronous;
	status = "disabled";
};

&sai_hdmi_tx {
	assigned-clocks =<&clk IMX8QM_ACM_HDMI_TX_SAI0_MCLK_SEL>,
			 <&clk IMX8QM_AUD_PLL0_DIV>,
			 <&clk IMX8QM_AUD_ACM_AUD_PLL_CLK0_DIV>,
			 <&clk IMX8QM_AUD_ACM_AUD_REC_CLK0_DIV>,
			 <&clk IMX8QM_AUD_SAI_HDMITX0_MCLK>;
	assigned-clock-parents = <&clk IMX8QM_AUD_ACM_AUD_PLL_CLK0_CLK>;
	assigned-clock-rates = <0>, <786432000>, <49152000>, <12288000>, <49152000>;
	fsl,sai-asynchronous;
};

/* Apalis SATA1 */
&sata {
	clocks = <&clk IMX8QM_HSIO_SATA_CLK>,
		 <&clk IMX8QM_HSIO_PHY_X1_PCLK>,
		 <&clk IMX8QM_HSIO_SATA_EPCS_TX_CLK>,
		 <&clk IMX8QM_HSIO_SATA_EPCS_RX_CLK>,
		 <&clk IMX8QM_HSIO_PHY_X2_PCLK_0>,
		 <&clk IMX8QM_HSIO_PHY_X2_PCLK_1>,
		 <&clk IMX8QM_HSIO_PHY_X1_APB_CLK>,
		 <&pcie_sata_refclk_gate>;
	clock-names = "sata", "sata_ref", "epcs_tx", "epcs_rx",
		      "phy_pclk0", "phy_pclk1", "phy_apbclk", "sata_ext";
	ext_osc = <1>;
};

/* Apalis SPDIF1 */
&spdif0 {
	pinctrl-names = "default";
	pinctrl-0 = <&pinctrl_spdif0>;
	assigned-clocks =<&clk IMX8QM_AUD_PLL0_DIV>,
			<&clk IMX8QM_AUD_ACM_AUD_PLL_CLK0_DIV>,
			<&clk IMX8QM_AUD_ACM_AUD_REC_CLK0_DIV>;
	assigned-clock-rates = <786432000>, <49152000>, <12288000>;
};

&spdif1 {
	assigned-clocks =<&clk IMX8QM_AUD_PLL0_DIV>,
			<&clk IMX8QM_AUD_ACM_AUD_PLL_CLK0_DIV>,
			<&clk IMX8QM_AUD_ACM_AUD_REC_CLK0_DIV>;
	assigned-clock-rates = <786432000>, <49152000>, <12288000>;
};

&thermal_zones {
	pmic-thermal0 {
		polling-delay = <2000>;
		polling-delay-passive = <250>;
		thermal-sensors = <&tsens 5>;

		trips {
			pmic_alert0: trip0 {
				hysteresis = <2000>;
				temperature = <110000>;
				type = "passive";
			};

			pmic_crit0: trip1 {
				hysteresis = <2000>;
				temperature = <125000>;
				type = "critical";
			};
		};

		cooling-maps {
			map0 {
				cooling-device =
				<&A53_0 THERMAL_NO_LIMIT THERMAL_NO_LIMIT>;
				trip = <&pmic_alert0>;
			};

			map1 {
				cooling-device =
				<&A72_0 THERMAL_NO_LIMIT THERMAL_NO_LIMIT>;
				trip = <&pmic_alert0>;
			};
		};
	};
};

&tsens {
	tsens-num = <6>;
};

/* Apalis USBH2, Apalis USBH3 and on-module Wi-Fi via on-module HSIC Hub */
&usbh1 {
	pinctrl-names = "idle", "active";
	pinctrl-0 = <&pinctrl_usb_hsic_idle>;
	pinctrl-1 = <&pinctrl_usb_hsic_active>;
	adp-disable;
	disable-over-current;
	hnp-disable;
	srp-disable;
};

/* Apalis USBO1 */
&usbotg1 {
	pinctrl-names = "default";
	pinctrl-0 = <&pinctrl_usbotg1>;
	adp-disable;
	ci-disable-lpm;
	hnp-disable;
	power-polarity-active-high;
	srp-disable;
};

/* On-module eMMC */
&usdhc1 {
	pinctrl-names = "default", "state_100mhz", "state_200mhz";
	pinctrl-0 = <&pinctrl_usdhc1>;
	pinctrl-1 = <&pinctrl_usdhc1_100mhz>;
	pinctrl-2 = <&pinctrl_usdhc1_200mhz>;
	bus-width = <8>;
	non-removable;
	status = "okay";
};

/* Apalis MMC1 */
&usdhc2 {
	bus-width = <8>;
	cd-gpios = <&gpio2 9 GPIO_ACTIVE_LOW>; /* Apalis MMC1_CD# */
	pinctrl-names = "default", "state_100mhz", "state_200mhz";
	pinctrl-0 = <&pinctrl_usdhc2>, <&pinctrl_mmc1_cd>;
	pinctrl-1 = <&pinctrl_usdhc2_100mhz>, <&pinctrl_mmc1_cd>;
	pinctrl-2 = <&pinctrl_usdhc2_200mhz>, <&pinctrl_mmc1_cd>;
	/*
	 * The PMIC on V1.0A HW generates 1.6V instead of 1.8V which creates
	 * issues with certain SD cards, disable 1.8V signaling for now.
	 */
	no-1-8-v;
};

/* Apalis SD1 */
&usdhc3 {
	bus-width = <4>;
	cd-gpios = <&gpio4 12 GPIO_ACTIVE_LOW>; /* Apalis SD1_CD# */
	pinctrl-names = "default", "state_100mhz", "state_200mhz";
	pinctrl-0 = <&pinctrl_usdhc3>, <&pinctrl_sd1_cd>;
	pinctrl-1 = <&pinctrl_usdhc3_100mhz>, <&pinctrl_sd1_cd>;
	pinctrl-2 = <&pinctrl_usdhc3_200mhz>, <&pinctrl_sd1_cd>;
	/*
	 * The PMIC on V1.0A HW generates 1.6V instead of 1.8V which creates
	 * issues with certain SD cards, disable 1.8V signaling for now.
	 */
	no-1-8-v;
};

&vpu_decoder {
	core_type = <2>;
};

&vpu_encoder {
	core_type = <2>;
};
